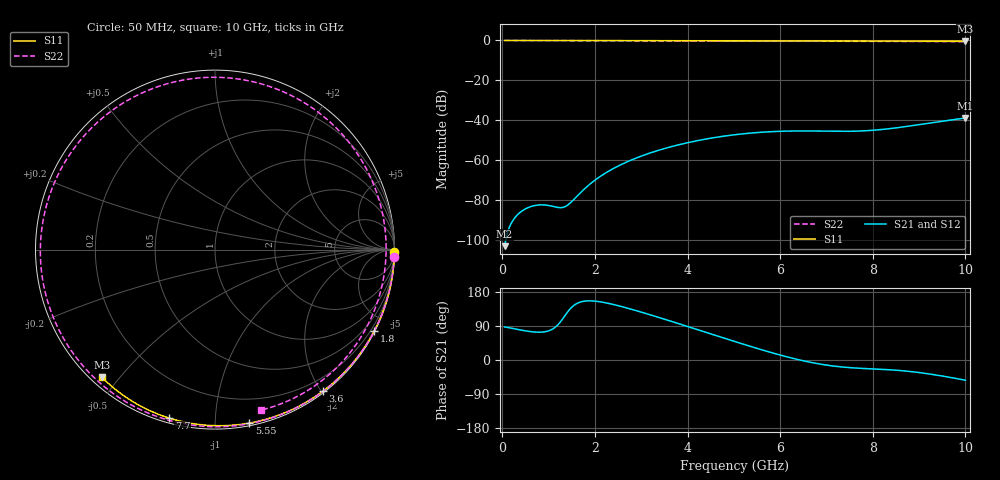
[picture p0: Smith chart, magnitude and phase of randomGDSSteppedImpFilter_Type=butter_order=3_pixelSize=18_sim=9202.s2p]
! freq	dB(S11)	phase(S11)	dB(S12)	phase(S12)
!  dB(S21)	phase(S21)	dB(S22)	phase(S22)
!S-par simulation data
#  GHz  S  DB  R 50
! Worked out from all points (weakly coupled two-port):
!   200 points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, 50 MHz to 10 GHz, reference 50 ohm
!   highest |S21| = -38.88 dB at 10 GHz (marker M1); lowest = -103.2 dB at 50 MHz (marker M2)
!   lowest |S11| = -0.4 dB at 10 GHz (marker M3), VSWR 39.03, Z = 1.54 - j22.4 ohm
!   |S11| at or under -10 dB: nowhere
!   |S22| runs from -0.6 to 0.0 dB; largest |S21 - S12| = 0
!   S11 on the Smith chart (normalised r, x): 50 MHz: open; 1.8 GHz: 0.04, -4.17; 3.6 GHz: 0.02, -2.02; 5.55 GHz: 0.02, -1.22; 7.7 GHz: 0.02, -0.76; 10 GHz: 0.03, -0.45
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0.05  -0.00 -0.8  -103.23 87.0  -103.23 87.0  -0.01 -2.3
0.7  -0.01 -10.6  -82.85 73.8  -82.85 73.8  -0.04 -31.0
1.5  -0.03 -22.6  -80.85 139.3  -80.85 139.3  -0.08 -65.6
1.75  -0.03 -26.2  -75.01 154.9  -75.01 154.9  -0.10 -76.3
1.8  -0.03 -27.0  -73.94 155.7  -73.94 155.7  -0.10 -78.5
2.15  -0.04 -32.1  -67.70 152.8  -67.70 152.8  -0.12 -93.3
2.55  -0.05 -37.9  -62.47 141.9  -62.47 141.9  -0.14 -110.2
2.95  -0.06 -43.6  -58.48 128.2  -58.48 128.2  -0.16 -127.2
3.4  -0.07 -50.0  -54.94 111.6  -54.94 111.6  -0.19 -146.4
3.6  -0.07 -52.8  -53.61 103.9  -53.61 103.9  -0.20 -155.1
4  -0.08 -58.3  -51.32 88.5  -51.32 88.5  -0.23 -172.8
4.35  -0.09 -63.0  -49.67 74.8  -49.67 74.8  -0.25 171.3
4.7  -0.10 -67.7  -48.31 61.2  -48.31 61.2  -0.27 155.0
5.05  -0.11 -72.3  -47.22 47.6  -47.22 47.6  -0.30 138.1
5.55  -0.13 -78.8  -46.13 28.8  -46.13 28.8  -0.33 113.3
6.1  -0.15 -85.8  -45.52 9.8  -45.52 9.8  -0.36 85.4
6.7  -0.18 -93.2  -45.45 -7.2  -45.45 -7.2  -0.38 55.0
7.2  -0.21 -99.3  -45.59 -16.7  -45.59 -16.7  -0.39 30.7
7.7  -0.24 -105.2  -45.47 -21.7  -45.47 -21.7  -0.41 7.9
8.35  -0.29 -112.8  -44.30 -25.7  -44.30 -25.7  -0.44 -18.9
9.15  -0.36 -122.0  -41.72 -35.6  -41.72 -35.6  -0.51 -47.7
10  -0.45 -131.7  -38.88 -53.5  -38.88 -53.5  -0.63 -74.0
